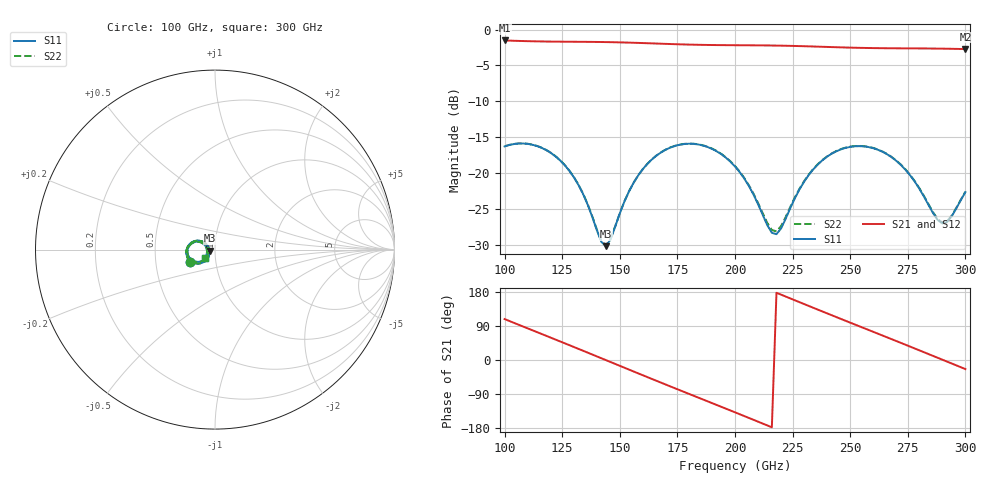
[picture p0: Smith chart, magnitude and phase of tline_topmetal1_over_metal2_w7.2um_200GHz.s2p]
#  GHZ S DB R 50
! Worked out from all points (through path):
!   101 points, 100 GHz to 300 GHz, reference 50 ohm
!   highest |S21| = -1.52 dB at 100 GHz (marker M1); lowest = -2.7 dB at 300 GHz (marker M2)
!   group delay of S21, straight-line fit = 6.83 ps
!   lowest |S11| = -30.2 dB at 144 GHz (marker M3), VSWR 1.06, Z = 47 - j0.552 ohm
!   |S11| at or under -10 dB: start of sweep to end of sweep
!   |S22| runs from -30.1 to -15.9 dB; largest |S21 - S12| = 9.2e-14
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100  -16.30 -153.5  -1.52 108.0  -1.52 108.0  -16.28 -153.6
108  -15.88 -170.5  -1.61 88.4  -1.61 88.4  -15.87 -170.4
116  -16.48 173.0  -1.66 68.8  -1.66 68.8  -16.46 173.3
126  -18.87 154.6  -1.70 44.3  -1.70 44.3  -18.84 155.0
134  -22.88 146.2  -1.71 24.5  -1.71 24.5  -22.83 146.7
142  -29.59 171.1  -1.74 4.6  -1.74 4.6  -29.47 171.5
144  -30.19 -169.1  -1.75 -0.4  -1.75 -0.4  -30.07 -169.0
156  -21.35 -130.7  -1.84 -30.3  -1.84 -30.3  -21.34 -130.4
168  -17.10 -148.7  -1.98 -60.0  -1.98 -60.0  -17.09 -148.2
176  -16.06 -163.9  -2.06 -79.6  -2.06 -79.6  -16.04 -163.2
184  -16.02 -179.4  -2.13 -99.1  -2.13 -99.1  -15.99 -178.6
200  -19.08 153.2  -2.19 -138.1  -2.19 -138.1  -19.02 154.4
210  -24.34 149.7  -2.21 -162.7  -2.21 -162.7  -24.16 151.5
216  -28.33 175.1  -2.23 -177.6  -2.23 -177.6  -27.94 176.1
218  -28.52 -169.3  -2.24 177.4  -2.24 177.4  -28.13 -169.1
234  -19.48 -140.9  -2.37 137.8  -2.37 137.8  -19.42 -141.0
250  -16.35 -166.8  -2.52 98.6  -2.52 98.6  -16.32 -166.4
258  -16.38 178.9  -2.58 79.2  -2.58 79.2  -16.35 179.5
268  -17.80 162.5  -2.61 54.9  -2.61 54.9  -17.76 163.2
280  -22.18 152.3  -2.64 25.5  -2.64 25.5  -22.10 153.2
290  -27.04 -177.2  -2.67 0.8  -2.67 0.8  -26.90 -176.6
300  -22.66 -141.8  -2.73 -23.9  -2.73 -23.9  -22.61 -141.4
